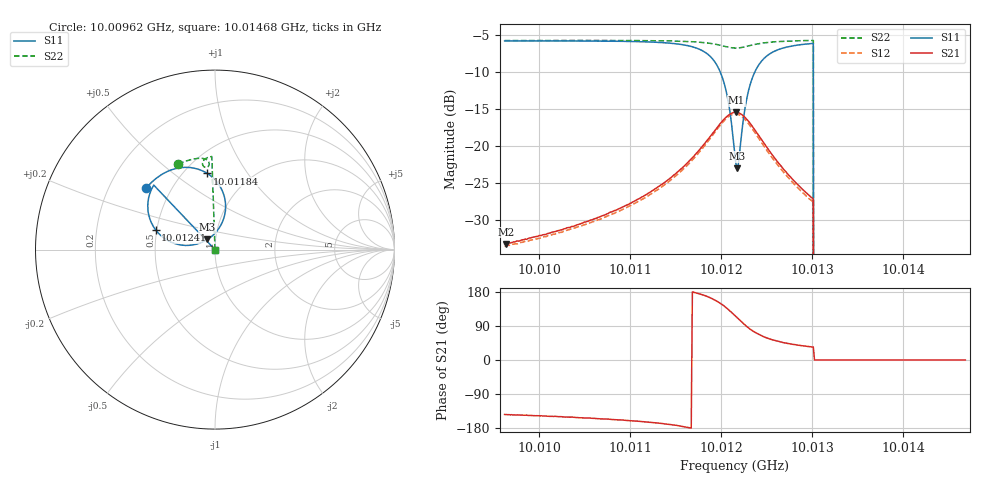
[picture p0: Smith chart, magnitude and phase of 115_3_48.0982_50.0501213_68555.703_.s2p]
#  HZ  S  RI  R  50.00
! Rohde & Schwarz Vector Network Analyzer
! Rohde-Schwarz,ZNB20-2Port,1311601062101988,3.16
! Created: UTC 12/23/2023, 3:46:11 AM
! freq[Hz]  re:S11  im:S11  re:S21  im:S21  re:S12  im:S12  re:S22  im:S22
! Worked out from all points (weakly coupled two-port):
!   401 points, 10.00962 GHz to 10.01468 GHz, reference 50 ohm
!   highest |S21| = -15.44 dB at 10.01217 GHz (marker M1); lowest = -33.3 dB at 10.00963 GHz (marker M2)
!   lowest |S11| = -23.0 dB at 10.01218 GHz (marker M3), VSWR 1.15, Z = 45.7 + j5.21 ohm
!   |S11| at or under -10 dB: 10.01199 GHz to 10.01237 GHz (378.4 kHz wide, 0.00378 % of centre); 10.01301 GHz to end of sweep
!   |S22| runs from - to -5.7 dB; largest |S21 - S12| = 0.0083
!   S11 on the Smith chart (normalised r, x): 10.00962 GHz: 0.36, +0.34; 10.01184 GHz: 0.65, +0.67; 10.01241 GHz: 0.49, +0.12; 10.01468 GHz: 1.00, +0.00
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1.0009621e10  -0.3852 0.3422  -0.0175 -0.0128  -0.0162 -0.0132  -0.2044 0.4762
1.0009633e10  -0.3846 0.343  -0.0175 -0.0126  -0.0162 -0.0131  -0.2038 0.4765
1.0010469e10  -0.3301 0.3951  -0.0265 -0.0139  -0.0248 -0.0145  -0.1512 0.4963
1.0011317e10  -0.2273 0.4493  -0.0518 -0.0123  -0.049 -0.0142  -0.0908 0.5087
1.0011608e10  -0.1502 0.458  -0.0742 -0.00422  -0.0713 -0.00827  -0.0655 0.5077
1.0011836e10  -0.0428 0.4243  -0.1048 0.0208  -0.1024 0.0151  -0.0431 0.4984
1.001195e10  0.0262 0.3552  -0.12 0.0545  -0.1194 0.0469  -0.0339 0.4864
1.0012026e10  0.0572 0.2694  -0.1213 0.0887  -0.1223 0.081  -0.0324 0.4745
1.0012089e10  0.0494 0.1756  -0.1071 0.1228  -0.1099 0.1153  -0.0369 0.4647
1.0012153e10  -0.0065 0.0846  -0.0762 0.1509  -0.0798 0.1441  -0.0471 0.4586
1.0012165e10  -0.0233 0.07  -0.0684 0.1546  -0.0721 0.1478  -0.0494 0.4583
1.0012178e10  -0.0418 0.0568  -0.0604 0.1573  -0.0638 0.1511  -0.052 0.4581
1.0012203e10  -0.0816 0.0372  -0.0439 0.1605  -0.0471 0.1547  -0.0567 0.4593
1.0012254e10  -0.1644 0.0233  -0.0115 0.1577  -0.0159 0.1521  -0.0643 0.4645
1.0012292e10  -0.2212 0.0329  0.00953 0.1489  0.00467 0.1438  -0.0679 0.4702
1.0012406e10  -0.3304 0.1094  0.0433 0.1113  0.038 0.1078  -0.0683 0.4876
1.0012608e10  -0.3745 0.2399  0.0508 0.0614  0.0461 0.0605  -0.0524 0.5066
1.0012988e10  -0.3439 0.355  0.0369 0.0256  0.034 0.0261  -0.0197 0.5185
1.0013001e10  -0.3427 0.3571  0.0366 0.025  0.0335 0.0256  -0.0188 0.5186
1.0013052e10  0 0  0 0  0 0  0 0
1.0013849e10  0 0  0 0  0 0  0 0
1.0014685e10  0 0  0 0  0 0  0 0
